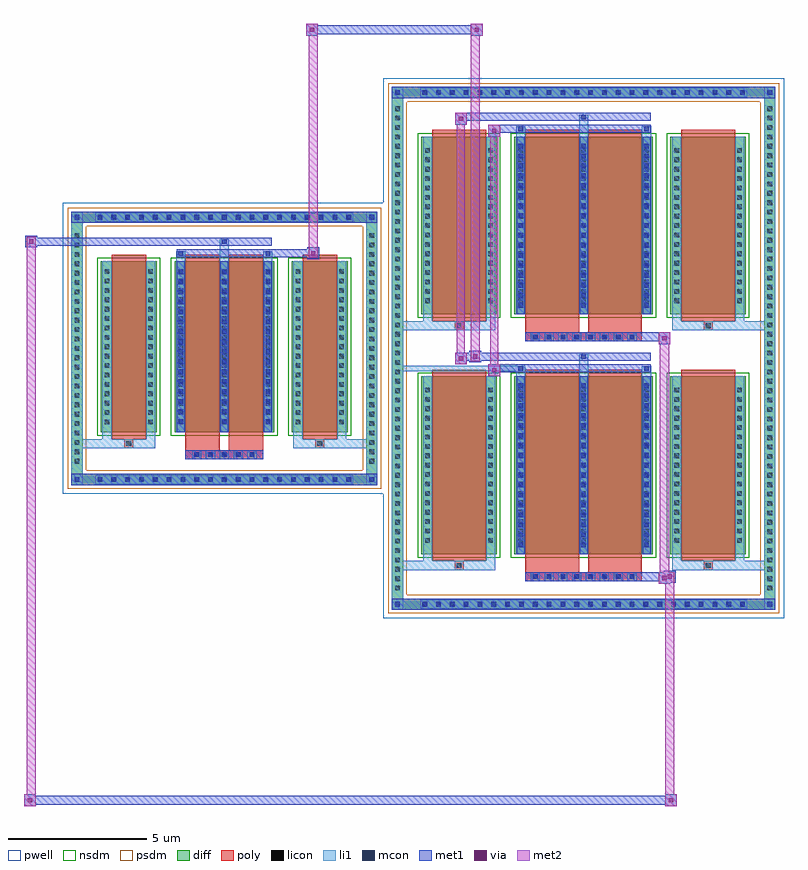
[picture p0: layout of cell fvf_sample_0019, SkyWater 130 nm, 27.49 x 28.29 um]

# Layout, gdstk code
import gdstk
lib = gdstk.Library(unit=1e-6, precision=1e-09)
def R(c, l, rs):  # rectangles x0, y0, x1, y1
    for r in rs: c.add(gdstk.rectangle(r[:2], r[2:], *l))
def A(c, l, x, y, w, h, nx, ny, dx, dy):  # array of equal rectangles
    R(c, l, [(x+i*dx, y+j*dy, x+i*dx+w, y+j*dy+h) for i in range(nx) for j in range(ny)])
def P(c, l, *ps):  # polygons
    for p in ps: c.add(gdstk.Polygon(p, *l))
pwell = (64, 44)
diff = (65, 20)
poly = (66, 20)
licon = (66, 44)
li1 = (67, 20)
mcon = (67, 44)
met1 = (68, 20)
via = (68, 44)
met2 = (69, 20)
nsdm = (93, 44)
psdm = (94, 20)

fvf_sample_0019 = lib.new_cell('fvf_sample_0019')
R(fvf_sample_0019, pwell, [(5.748,-9.768,20.242,9.768), (-5.848,-5.26,5.848,5.26)])
A(fvf_sample_0019, diff, 7.04, -9.458, 0.41, 0.41, 24, 2, 0.5, 18.506)
A(fvf_sample_0019, diff, 6.058, -8.875, 0.41, 0.41, 1, 52, 0, 0.34)
A(fvf_sample_0019, diff, 19.522, -8.875, 0.41, 0.41, 1, 52, 0, 0.34)
A(fvf_sample_0019, diff, -4.705, -4.95, 0.41, 0.41, 19, 2, 0.5, 9.49)
A(fvf_sample_0019, diff, -5.538, -4.285, 0.41, 0.41, 1, 25, 0, 0.34)
A(fvf_sample_0019, diff, 5.128, -4.285, 0.41, 0.41, 1, 25, 0, 0.34)
R(fvf_sample_0019, diff, [(7.04,-9.458,18.95,-9.048), (6.058,-8.875,6.468,8.875), (19.522,-8.875,19.932,8.875), (7.128,-7.437,9.854,-1.015), (10.494,-7.437,15.496,-1.015), (16.136,-7.437,18.862,-1.015), (-4.705,-4.95,4.705,-4.54), (-5.538,-4.285,-5.128,4.285), (5.128,-4.285,5.538,4.285), (-4.467,-3.028,-2.441,3.144), (-1.801,-3.028,1.801,3.144), (2.441,-3.028,4.467,3.144), (7.128,1.231,9.854,7.653), (10.494,1.231,15.496,7.653), (16.136,1.231,18.862,7.653), (-4.705,4.54,4.705,4.95), (7.04,9.048,18.95,9.458)])
P(fvf_sample_0019, diff, [(5.538,4.95),(-5.538,4.95),(-5.538,-4.54),(-5.128,-4.54),(-5.128,4.54),(5.128,4.54),(5.128,-4.54),(-5.128,-4.54),(-5.538,-4.54),(-5.538,-4.95),(5.538,-4.95)],
  [(19.932,9.458),(6.058,9.458),(6.058,-9.048),(6.468,-9.048),(6.468,9.048),(19.522,9.048),(19.522,-9.048),(6.468,-9.048),(6.058,-9.048),(6.058,-9.458),(19.932,-9.458)])
A(fvf_sample_0019, poly, 11.08, -8.418, 0.33, 0.33, 8, 2, 0.5, 8.668)
A(fvf_sample_0019, poly, -1.165, -4.008, 0.33, 0.33, 5, 1, 0.5, 0)
R(fvf_sample_0019, poly, [(10.884,-8.418,15.106,-8.088), (10.884,-8.088,12.83,-7.687), (13.16,-8.088,15.106,-7.687), (8.326,-8.017,8.656,-7.687), (8.326,-8.017,8.656,-7.687), (17.334,-8.017,17.664,-7.687), (17.334,-8.017,17.664,-7.687), (7.518,-7.687,9.464,-0.765), (10.884,-7.687,12.83,-0.765), (13.16,-7.687,15.106,-0.765), (16.526,-7.687,18.472,-0.765), (-1.411,-4.008,1.411,-3.678), (-1.411,-3.678,-0.165,-3.278), (0.165,-3.678,1.411,-3.278), (-3.619,-3.608,-3.289,-3.278), (-3.619,-3.608,-3.289,-3.278), (3.289,-3.608,3.619,-3.278), (3.289,-3.608,3.619,-3.278), (-4.077,-3.278,-2.831,3.394), (-1.411,-3.278,-0.165,3.394), (0.165,-3.278,1.411,3.394), (2.831,-3.278,4.077,3.394), (10.884,0.25,15.106,0.58), (10.884,0.58,12.83,0.981), (13.16,0.58,15.106,0.981), (8.326,0.651,8.656,0.981), (8.326,0.651,8.656,0.981), (17.334,0.651,17.664,0.981), (17.334,0.651,17.664,0.981), (7.518,0.981,9.464,7.903), (10.884,0.981,12.83,7.903), (13.16,0.981,15.106,7.903), (16.526,0.981,18.472,7.903)])
A(fvf_sample_0019, licon, 7.16, -9.338, 0.17, 0.17, 24, 2, 0.5, 18.506)
A(fvf_sample_0019, licon, 6.178, -8.755, 0.17, 0.17, 1, 52, 0, 0.34)
A(fvf_sample_0019, licon, 19.642, -8.755, 0.17, 0.17, 1, 52, 0, 0.34)
A(fvf_sample_0019, licon, 11.16, -8.338, 0.17, 0.17, 8, 2, 0.5, 8.668)
A(fvf_sample_0019, licon, 7.268, -7.031, 0.17, 0.17, 1, 17, 0, 0.34)
A(fvf_sample_0019, licon, 9.544, -7.031, 0.17, 0.17, 1, 17, 0, 0.34)
A(fvf_sample_0019, licon, 10.634, -7.031, 0.17, 0.17, 3, 17, 2.276, 0.34)
A(fvf_sample_0019, licon, 16.276, -7.031, 0.17, 0.17, 1, 17, 0, 0.34)
A(fvf_sample_0019, licon, 18.552, -7.031, 0.17, 0.17, 1, 17, 0, 0.34)
A(fvf_sample_0019, licon, -4.585, -4.83, 0.17, 0.17, 19, 2, 0.5, 9.49)
A(fvf_sample_0019, licon, -5.418, -4.165, 0.17, 0.17, 1, 25, 0, 0.34)
A(fvf_sample_0019, licon, 5.248, -4.165, 0.17, 0.17, 1, 25, 0, 0.34)
A(fvf_sample_0019, licon, -1.085, -3.928, 0.17, 0.17, 5, 1, 0.5, 0)
A(fvf_sample_0019, licon, -4.327, -2.747, 0.17, 0.17, 1, 17, 0, 0.34)
A(fvf_sample_0019, licon, -2.751, -2.747, 0.17, 0.17, 1, 17, 0, 0.34)
A(fvf_sample_0019, licon, -1.661, -2.747, 0.17, 0.17, 3, 17, 1.576, 0.34)
A(fvf_sample_0019, licon, 2.581, -2.747, 0.17, 0.17, 1, 17, 0, 0.34)
A(fvf_sample_0019, licon, 4.157, -2.747, 0.17, 0.17, 1, 17, 0, 0.34)
A(fvf_sample_0019, licon, 7.268, 1.637, 0.17, 0.17, 1, 17, 0, 0.34)
A(fvf_sample_0019, licon, 9.544, 1.637, 0.17, 0.17, 1, 17, 0, 0.34)
A(fvf_sample_0019, licon, 10.634, 1.637, 0.17, 0.17, 3, 17, 2.276, 0.34)
A(fvf_sample_0019, licon, 16.276, 1.637, 0.17, 0.17, 1, 17, 0, 0.34)
A(fvf_sample_0019, licon, 18.552, 1.637, 0.17, 0.17, 1, 17, 0, 0.34)
R(fvf_sample_0019, licon, [(8.406,-7.937,8.576,-7.767), (17.414,-7.937,17.584,-7.767), (-3.539,-3.528,-3.369,-3.358), (3.369,-3.528,3.539,-3.358), (8.406,0.731,8.576,0.901), (17.414,0.731,17.584,0.901)])
A(fvf_sample_0019, li1, 7.08, -9.418, 0.33, 0.33, 24, 2, 0.5, 18.506)
A(fvf_sample_0019, li1, 6.098, -8.835, 0.33, 0.33, 1, 52, 0, 0.34)
A(fvf_sample_0019, li1, 19.562, -8.835, 0.33, 0.33, 1, 52, 0, 0.34)
A(fvf_sample_0019, li1, 11.08, -8.418, 0.33, 0.33, 8, 2, 0.5, 8.668)
A(fvf_sample_0019, li1, 10.554, -7.437, 0.33, 6.422, 3, 2, 2.276, 8.668)
A(fvf_sample_0019, li1, 10.634, -7.191, 0.17, 0.17, 3, 17, 2.276, 0.36)
A(fvf_sample_0019, li1, 10.634, -7.191, 0.17, 5.93, 3, 2, 2.276, 8.668)
A(fvf_sample_0019, li1, 7.188, -7.111, 0.33, 0.33, 1, 17, 0, 0.34)
A(fvf_sample_0019, li1, 9.464, -7.111, 0.33, 0.33, 1, 17, 0, 0.34)
A(fvf_sample_0019, li1, 10.554, -7.111, 0.33, 0.33, 3, 17, 2.276, 0.34)
A(fvf_sample_0019, li1, 16.196, -7.111, 0.33, 0.33, 1, 17, 0, 0.34)
A(fvf_sample_0019, li1, 18.472, -7.111, 0.33, 0.33, 1, 17, 0, 0.34)
A(fvf_sample_0019, li1, -4.665, -4.91, 0.33, 0.33, 19, 2, 0.5, 9.49)
A(fvf_sample_0019, li1, -5.498, -4.245, 0.33, 0.33, 1, 25, 0, 0.34)
A(fvf_sample_0019, li1, 5.168, -4.245, 0.33, 0.33, 1, 25, 0, 0.34)
A(fvf_sample_0019, li1, -1.165, -4.008, 0.33, 0.33, 5, 1, 0.5, 0)
A(fvf_sample_0019, li1, -1.741, -3.028, 0.33, 6.172, 3, 1, 1.576, 0)
A(fvf_sample_0019, li1, -4.407, -2.827, 0.33, 0.33, 1, 17, 0, 0.34)
A(fvf_sample_0019, li1, -2.831, -2.827, 0.33, 0.33, 1, 17, 0, 0.34)
A(fvf_sample_0019, li1, -1.741, -2.827, 0.33, 0.33, 3, 17, 1.576, 0.34)
A(fvf_sample_0019, li1, 2.501, -2.827, 0.33, 0.33, 1, 17, 0, 0.34)
A(fvf_sample_0019, li1, 4.077, -2.827, 0.33, 0.33, 1, 17, 0, 0.34)
A(fvf_sample_0019, li1, -1.661, -2.727, 0.17, 0.17, 3, 16, 1.576, 0.36)
A(fvf_sample_0019, li1, -1.661, -2.727, 0.17, 5.57, 3, 1, 1.576, 0)
A(fvf_sample_0019, li1, 10.634, 1.477, 0.17, 0.17, 3, 17, 2.276, 0.36)
A(fvf_sample_0019, li1, 7.188, 1.557, 0.33, 0.33, 1, 17, 0, 0.34)
A(fvf_sample_0019, li1, 9.464, 1.557, 0.33, 0.33, 1, 17, 0, 0.34)
A(fvf_sample_0019, li1, 10.554, 1.557, 0.33, 0.33, 3, 17, 2.276, 0.34)
A(fvf_sample_0019, li1, 16.196, 1.557, 0.33, 0.33, 1, 17, 0, 0.34)
A(fvf_sample_0019, li1, 18.472, 1.557, 0.33, 0.33, 1, 17, 0, 0.34)
R(fvf_sample_0019, li1, [(6.058,-9.458,6.468,-9.048), (19.522,-9.458,19.932,-9.048), (7.08,-9.418,18.91,-9.088), (6.178,-9.338,6.348,-9.168), (6.178,-9.338,6.348,-9.168), (19.642,-9.338,19.812,-9.168), (19.642,-9.338,19.812,-9.168), (6.058,-9.048,6.468,9.048), (19.522,-9.048,19.932,9.048), (6.058,-8.017,8.326,-7.687), (7.188,-8.017,7.518,-7.437), (7.188,-8.017,8.326,-7.687), (8.326,-8.017,8.656,-7.687), (8.656,-8.017,9.794,-7.687), (9.464,-8.017,9.794,-7.437), (16.196,-8.017,16.526,-7.437), (16.196,-8.017,17.334,-7.687), (17.334,-8.017,17.664,-7.687), (17.334,-8.017,19.932,-7.687), (17.664,-8.017,18.802,-7.687), (18.472,-8.017,18.802,-7.437), (7.188,-7.437,7.518,-1.015), (9.464,-7.437,9.794,-1.015), (16.196,-7.437,16.526,-1.015), (18.472,-7.437,18.802,-1.015), (-5.538,-4.95,-5.128,-4.54), (5.128,-4.95,5.538,-4.54), (-4.665,-4.91,4.665,-4.58), (-5.418,-4.83,-5.248,-4.66), (-5.418,-4.83,-5.248,-4.66), (5.248,-4.83,5.418,-4.66), (5.248,-4.83,5.418,-4.66), (-5.538,-4.54,-5.128,4.54), (5.128,-4.54,5.538,4.54), (-5.538,-3.608,-3.619,-3.278), (-4.407,-3.608,-3.619,-3.278), (-4.407,-3.608,-4.077,-3.028), (-3.619,-3.608,-3.289,-3.278), (-3.289,-3.608,-2.501,-3.278), (-2.831,-3.608,-2.501,-3.028), (2.501,-3.608,3.289,-3.278), (2.501,-3.608,2.831,-3.028), (3.289,-3.608,3.619,-3.278), (3.289,-3.608,5.538,-3.278), (3.619,-3.608,4.407,-3.278), (4.077,-3.608,4.407,-3.028), (-4.407,-3.028,-4.077,3.144), (-2.831,-3.028,-2.501,3.144), (2.501,-3.028,2.831,3.144), (4.077,-3.028,4.407,3.144), (10.554,-1.015,10.884,-0.64), (12.83,-1.015,13.16,-0.21), (15.106,-1.015,15.436,-0.64), (10.574,-0.87,10.864,-0.58), (6.058,-0.825,10.574,-0.625), (10.634,-0.81,10.804,-0.64), (10.634,-0.81,10.804,-0.64), (15.186,-0.81,15.356,-0.64), (12.91,-0.38,13.08,-0.21), (6.058,0.651,8.326,0.981), (7.188,0.651,7.518,1.231), (7.188,0.651,8.326,0.981), (8.326,0.651,8.656,0.981), (8.656,0.651,9.794,0.981), (9.464,0.651,9.794,1.231), (16.196,0.651,16.526,1.231), (16.196,0.651,17.334,0.981), (17.334,0.651,17.664,0.981), (17.334,0.651,19.932,0.981), (17.664,0.651,18.802,0.981), (18.472,0.651,18.802,1.231), (7.188,1.231,7.518,7.653), (9.464,1.231,9.794,7.653), (16.196,1.231,16.526,7.653), (18.472,1.231,18.802,7.653), (-1.741,3.144,-1.411,3.519), (-0.165,3.144,0.165,3.949), (1.411,3.144,1.741,3.519), (-1.661,3.349,-1.491,3.519), (1.491,3.349,1.661,3.519), (-0.085,3.779,0.085,3.949), (-5.538,4.54,-5.128,4.95), (5.128,4.54,5.538,4.95), (-4.665,4.58,4.665,4.91), (-5.418,4.66,-5.248,4.83), (-5.418,4.66,-5.248,4.83), (5.248,4.66,5.418,4.83), (5.248,4.66,5.418,4.83), (10.554,7.653,10.884,8.028), (12.83,7.653,13.16,8.458), (15.106,7.653,15.436,8.028), (10.634,7.858,10.804,8.028), (15.186,7.858,15.356,8.028), (12.91,8.288,13.08,8.458), (6.058,9.048,6.468,9.458), (19.522,9.048,19.932,9.458), (7.08,9.088,18.91,9.418), (6.178,9.168,6.348,9.338), (6.178,9.168,6.348,9.338), (19.642,9.168,19.812,9.338), (19.642,9.168,19.812,9.338)])
A(fvf_sample_0019, mcon, 7.16, -9.338, 0.17, 0.17, 24, 2, 0.5, 18.506)
A(fvf_sample_0019, mcon, 11.16, -8.338, 0.17, 0.17, 8, 2, 0.5, 8.668)
A(fvf_sample_0019, mcon, 10.634, -7.191, 0.17, 0.17, 3, 17, 2.276, 0.36)
A(fvf_sample_0019, mcon, -4.585, -4.83, 0.17, 0.17, 19, 2, 0.5, 9.49)
A(fvf_sample_0019, mcon, -1.085, -3.928, 0.17, 0.17, 5, 1, 0.5, 0)
A(fvf_sample_0019, mcon, -1.661, -2.727, 0.17, 0.17, 3, 16, 1.576, 0.36)
A(fvf_sample_0019, mcon, 10.634, 1.477, 0.17, 0.17, 3, 17, 2.276, 0.36)
R(fvf_sample_0019, mcon, [(6.178,-9.338,6.348,-9.168), (19.642,-9.338,19.812,-9.168), (-5.418,-4.83,-5.248,-4.66), (5.248,-4.83,5.418,-4.66), (10.634,-0.81,10.804,-0.64), (10.634,-0.81,10.804,-0.64), (15.186,-0.81,15.356,-0.64), (12.91,-0.38,13.08,-0.21), (-1.661,3.349,-1.491,3.519), (1.491,3.349,1.661,3.519), (-0.085,3.779,0.085,3.949), (-5.418,4.66,-5.248,4.83), (5.248,4.66,5.418,4.83), (10.634,7.858,10.804,8.028), (15.186,7.858,15.356,8.028), (12.91,8.288,13.08,8.458), (6.178,9.168,6.348,9.338), (19.642,9.168,19.812,9.338)])
A(fvf_sample_0019, met1, 7.1, -9.398, 0.29, 0.29, 24, 2, 0.5, 18.506)
A(fvf_sample_0019, met1, 11.1, -8.398, 0.29, 0.29, 8, 2, 0.5, 8.668)
A(fvf_sample_0019, met1, 10.574, -7.437, 0.29, 6.422, 3, 2, 2.276, 8.668)
A(fvf_sample_0019, met1, 10.574, -7.251, 0.29, 0.29, 3, 17, 2.276, 0.36)
A(fvf_sample_0019, met1, -4.645, -4.89, 0.29, 0.29, 19, 2, 0.5, 9.49)
A(fvf_sample_0019, met1, -1.145, -3.988, 0.29, 0.29, 5, 1, 0.5, 0)
A(fvf_sample_0019, met1, -1.721, -3.028, 0.29, 6.172, 3, 1, 1.576, 0)
A(fvf_sample_0019, met1, -1.721, -2.787, 0.29, 0.29, 3, 16, 1.576, 0.36)
A(fvf_sample_0019, met1, 10.574, 1.417, 0.29, 0.29, 3, 17, 2.276, 0.36)
R(fvf_sample_0019, met1, [(-7.246,-16.554,-6.816,-16.124), (15.941,-16.554,16.371,-16.124), (-7.246,-16.504,16.371,-16.174), (-7.246,-16.174,-6.816,-16.124), (15.941,-16.174,16.371,-16.124), (6.058,-9.458,6.468,-9.048), (6.058,-9.458,6.468,-9.048), (6.468,-9.458,19.522,-9.048), (19.522,-9.458,19.932,-9.048), (19.522,-9.458,19.932,-9.048), (6.118,-9.398,6.408,-9.108), (19.582,-9.398,19.872,-9.108), (15.706,-8.518,16.136,-8.088), (15.891,-8.468,16.321,-8.038), (10.884,-8.418,15.106,-8.088), (15.106,-8.418,15.891,-8.088), (15.106,-8.418,16.136,-8.088), (-5.538,-4.95,-5.128,-4.54), (-5.538,-4.95,-5.128,-4.54), (-5.128,-4.95,5.128,-4.54), (5.128,-4.95,5.538,-4.54), (5.128,-4.95,5.538,-4.54), (-5.478,-4.89,-5.188,-4.6), (5.188,-4.89,5.478,-4.6), (-1.411,-4.008,1.411,-3.678), (9.544,-1.01,9.974,-0.58), (9.544,-0.87,10.574,-0.58), (10.574,-0.87,10.864,-0.58), (10.574,-0.87,10.864,-0.58), (10.574,-0.87,15.416,-0.58), (15.126,-0.87,15.416,-0.58), (8.344,-0.58,8.774,-0.15), (8.859,-0.51,9.289,-0.08), (8.344,-0.44,10.574,-0.15), (9.289,-0.44,10.574,-0.15), (10.574,-0.44,15.416,-0.15), (12.85,-0.44,13.14,-0.15), (15.706,0.15,16.136,0.58), (10.884,0.25,15.106,0.58), (15.106,0.25,16.136,0.58), (3.006,3.219,3.436,3.649), (-1.721,3.289,-1.431,3.579), (-1.721,3.289,1.721,3.579), (1.431,3.289,1.721,3.579), (1.721,3.289,3.006,3.579), (-7.196,3.649,-6.766,4.079), (-6.766,3.719,-1.721,4.009), (-1.721,3.719,1.721,4.009), (-0.145,3.719,0.145,4.009), (-5.538,4.54,-5.128,4.95), (-5.538,4.54,-5.128,4.95), (-5.128,4.54,5.128,4.95), (5.128,4.54,5.538,4.95), (5.128,4.54,5.538,4.95), (-5.478,4.6,-5.188,4.89), (5.188,4.6,5.478,4.89), (9.544,7.658,9.974,8.088), (9.544,7.798,10.574,8.088), (10.574,7.798,10.864,8.088), (10.574,7.798,15.416,8.088), (15.126,7.798,15.416,8.088), (8.344,8.088,8.774,8.518), (8.344,8.228,10.574,8.518), (10.574,8.228,15.416,8.518), (12.85,8.228,13.14,8.518), (6.058,9.048,6.468,9.458), (6.058,9.048,6.468,9.458), (6.468,9.048,19.522,9.458), (19.522,9.048,19.932,9.458), (19.522,9.048,19.932,9.458), (6.118,9.108,6.408,9.398), (19.582,9.108,19.872,9.398), (2.956,11.305,3.386,11.735), (8.909,11.305,9.339,11.735), (2.956,11.355,9.339,11.685), (2.956,11.685,3.386,11.735), (8.909,11.685,9.339,11.735)])
R(fvf_sample_0019, via, [(-7.106,-16.414,-6.956,-16.264), (16.081,-16.414,16.231,-16.264), (15.846,-8.378,15.996,-8.228), (16.031,-8.328,16.181,-8.178), (9.684,-0.87,9.834,-0.72), (8.484,-0.44,8.634,-0.29), (8.999,-0.37,9.149,-0.22), (15.846,0.29,15.996,0.44), (3.146,3.359,3.296,3.509), (-7.056,3.789,-6.906,3.939), (9.684,7.798,9.834,7.948), (8.484,8.228,8.634,8.378), (3.096,11.445,3.246,11.595), (9.049,11.445,9.199,11.595)])
R(fvf_sample_0019, met2, [(-7.246,-16.554,-6.816,-16.124), (-7.146,-16.554,-6.816,3.699), (15.941,-16.554,16.371,-16.124), (15.941,-16.554,16.271,-8.418), (-7.196,-16.504,-6.866,-16.174), (15.991,-16.504,16.321,-16.174), (15.706,-8.518,16.136,-8.088), (15.756,-8.518,16.086,0.58), (16.086,-8.518,16.136,-8.088), (15.756,-8.468,16.086,-8.138), (15.941,-8.418,16.271,-8.088), (9.544,-1.01,9.974,-0.58), (9.614,-1.01,9.904,8.088), (9.904,-1.01,9.974,-0.58), (9.594,-0.96,9.924,-0.63), (8.344,-0.58,8.774,-0.15), (8.414,-0.58,8.704,8.518), (8.704,-0.58,8.774,-0.15), (8.394,-0.53,8.724,-0.2), (8.909,-0.46,9.239,-0.13), (8.909,-0.13,9.239,11.735), (15.706,0.15,16.136,0.58), (16.086,0.15,16.136,0.58), (15.756,0.2,16.086,0.53), (3.056,3.269,3.386,3.599), (3.056,3.599,3.386,11.735), (-7.146,3.699,-6.816,4.029), (9.544,7.658,9.974,8.088), (9.904,7.658,9.974,8.088), (9.594,7.708,9.924,8.038), (8.344,8.088,8.774,8.518), (8.704,8.088,8.774,8.518), (8.394,8.138,8.724,8.468), (2.956,11.305,3.386,11.735), (8.909,11.305,9.339,11.735), (3.006,11.355,3.336,11.685), (8.959,11.355,9.289,11.685)])
R(fvf_sample_0019, nsdm, [(6.998,-7.567,9.984,-0.885), (10.364,-7.567,15.626,-0.885), (16.006,-7.567,18.992,-0.885), (-4.597,-3.158,-2.311,3.274), (-1.931,-3.158,1.931,3.274), (2.311,-3.158,4.597,3.274), (6.998,1.101,9.984,7.783), (10.364,1.101,15.626,7.783), (16.006,1.101,18.992,7.783)])
P(fvf_sample_0019, psdm, [(5.668,5.08),(-5.668,5.08),(-5.668,-4.41),(-4.998,-4.41),(-4.998,4.41),(4.998,4.41),(4.998,-4.41),(-4.998,-4.41),(-5.668,-4.41),(-5.668,-5.08),(5.668,-5.08)],
  [(20.062,9.588),(5.928,9.588),(5.928,-8.918),(6.598,-8.918),(6.598,8.918),(19.392,8.918),(19.392,-8.918),(6.598,-8.918),(5.928,-8.918),(5.928,-9.588),(20.062,-9.588)])

lib.write_gds('fvf_sample_0019.gds')
